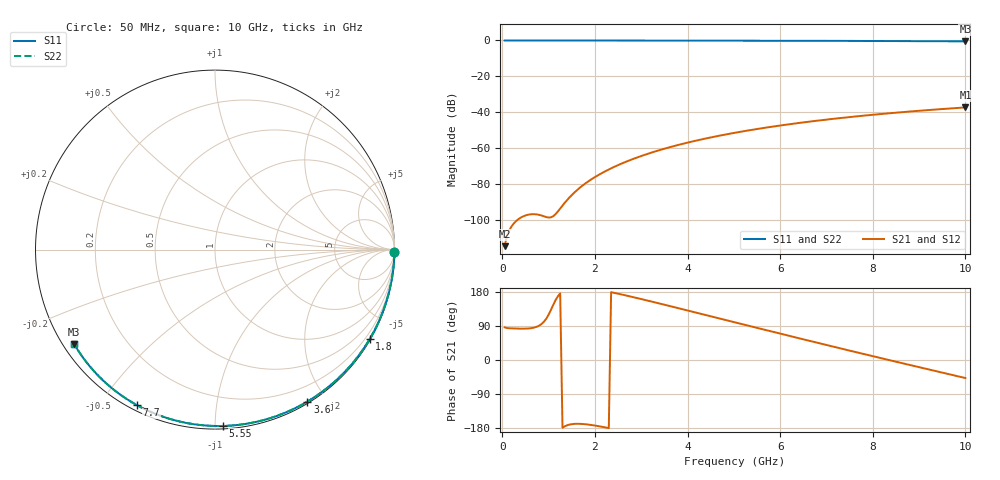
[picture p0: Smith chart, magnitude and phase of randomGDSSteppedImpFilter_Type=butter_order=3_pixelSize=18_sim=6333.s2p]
! freq	dB(S11)	phase(S11)	dB(S12)	phase(S12)
!  dB(S21)	phase(S21)	dB(S22)	phase(S22)
!S-par simulation data
#  GHz  S  DB  R 50
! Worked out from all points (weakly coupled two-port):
!   200 points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, 50 MHz to 10 GHz, reference 50 ohm
!   highest |S21| = -37.34 dB at 10 GHz (marker M1); lowest = -114.7 dB at 50 MHz (marker M2)
!   lowest |S11| = -0.5 dB at 10 GHz (marker M3), VSWR 35.20, Z = 1.55 - j15.2 ohm
!   |S11| at or under -10 dB: nowhere
!   |S22| runs from -0.5 to 0.0 dB; largest |S21 - S12| = 0
!   S11 on the Smith chart (normalised r, x): 50 MHz: open; 1.8 GHz: 0.03, -3.72; 3.6 GHz: 0.02, -1.78; 5.55 GHz: 0.02, -1.05; 7.7 GHz: 0.02, -0.62; 10 GHz: 0.03, -0.30
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0.05  -0.00 -0.9  -114.68 86.2  -114.68 86.2  -0.00 -0.9
0.45  -0.01 -7.6  -98.08 82.7  -98.08 82.7  -0.01 -7.6
0.9  -0.02 -15.2  -98.04 101.1  -98.04 101.1  -0.02 -15.2
1.3  -0.03 -21.9  -92.04 -178.8  -92.04 -178.8  -0.03 -21.9
1.75  -0.04 -29.3  -80.55 -169.0  -80.55 -169.0  -0.04 -29.3
1.8  -0.04 -30.1  -79.59 -169.6  -79.59 -169.6  -0.04 -30.1
1.95  -0.04 -32.6  -76.97 -172.0  -76.97 -172.0  -0.04 -32.6
2.1  -0.04 -35.0  -74.66 -175.0  -74.66 -175.0  -0.04 -35.0
2.3  -0.05 -38.2  -71.91 -179.8  -71.91 -179.8  -0.05 -38.2
2.5  -0.05 -41.5  -69.49 175.0  -69.49 175.0  -0.05 -41.5
2.9  -0.06 -47.8  -65.34 163.8  -65.34 163.8  -0.06 -47.8
3.4  -0.07 -55.6  -61.10 149.0  -61.10 149.0  -0.07 -55.6
3.6  -0.08 -58.7  -59.62 142.9  -59.62 142.9  -0.08 -58.7
4.3  -0.10 -69.3  -55.17 121.6  -55.17 121.6  -0.10 -69.3
5.05  -0.12 -80.3  -51.33 98.6  -51.33 98.6  -0.12 -80.3
5.55  -0.14 -87.4  -49.16 83.3  -49.16 83.3  -0.14 -87.4
6.1  -0.17 -95.1  -47.05 66.6  -47.05 66.6  -0.17 -95.1
6.7  -0.20 -103.3  -45.03 48.6  -45.03 48.6  -0.20 -103.3
7.7  -0.27 -116.5  -42.18 18.9  -42.18 18.9  -0.27 -116.5
8.35  -0.32 -125.0  -40.60 -0.1  -40.60 -0.1  -0.32 -125.0
9.2  -0.40 -135.9  -38.80 -24.7  -38.80 -24.7  -0.40 -135.9
10  -0.49 -146.2  -37.34 -47.6  -37.34 -47.6  -0.49 -146.2
